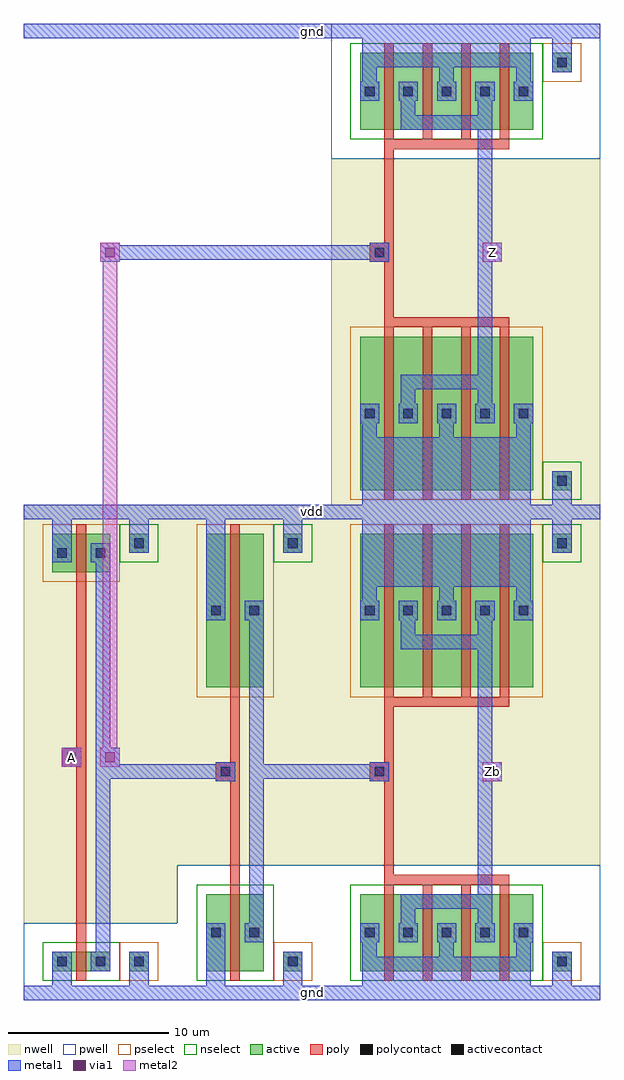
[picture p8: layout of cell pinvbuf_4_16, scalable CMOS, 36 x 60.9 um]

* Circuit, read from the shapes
.subckt pinvbuf_4_16 A Z Zb gnd vdd
M1 pinv_4_1/A A gnd gnd nfet w=1.2u l=0.6u
M2 pinv_5_2/A pinv_4_1/A gnd gnd nfet w=4.8u l=0.6u
M3 Zb pinv_5_2/A gnd gnd nfet w=4.8u l=0.6u m=4
M4 Z pinv_4_1/A gnd gnd nfet w=4.8u l=0.6u m=4
M5 pinv_4_1/A A vdd vdd pfet w=2.4u l=0.6u
M6 pinv_5_2/A pinv_4_1/A vdd vdd pfet w=9.6u l=0.6u
M7 Zb pinv_5_2/A vdd vdd pfet w=9.6u l=0.6u m=4
M8 Z pinv_4_1/A vdd vdd pfet w=9.6u l=0.6u m=4
.ends

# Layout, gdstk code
from math import pi, radians
import gdstk
lib = gdstk.Library(unit=1e-6, precision=1e-09)
def R(c, l, rs):  # rectangles x0, y0, x1, y1
    for r in rs: c.add(gdstk.rectangle(r[:2], r[2:], *l))
def A(c, l, x, y, w, h, nx, ny, dx, dy):  # array of equal rectangles
    R(c, l, [(x+i*dx, y+j*dy, x+i*dx+w, y+j*dy+h) for i in range(nx) for j in range(ny)])
pwell = (41, 0)
nwell = (42, 0)
active = (43, 0)
pselect = (44, 0)
nselect = (45, 0)
poly = (46, 0)
polycontact = (47, 0)
activecontact = (48, 0)
metal1 = (49, 0)
via1 = (50, 0)
metal2 = (51, 0)

active_contact_metal1_1x = lib.new_cell('active_contact_metal1_1x1_pn')
R(active_contact_metal1_1x, nwell, [(-1.8,-1.8,3,3)])
R(active_contact_metal1_1x, active, [(0,0,1.2,1.2)])
R(active_contact_metal1_1x, pselect, [(-0.6,-0.6,1.8,1.8)])
R(active_contact_metal1_1x, activecontact, [(0.3,0.3,0.9,0.9)])
R(active_contact_metal1_1x, metal1, [(0,0,1.2,1.2)])

pmos_m1_w2_4_a_p = lib.new_cell('pmos_m1_w2_4_a_p')
R(pmos_m1_w2_4_a_p, nwell, [(-1.8,-1.8,5.4,4.2)])
R(pmos_m1_w2_4_a_p, active, [(0,0,3.6,2.4)])
R(pmos_m1_w2_4_a_p, pselect, [(-0.6,-0.6,4.2,3)])
R(pmos_m1_w2_4_a_p, poly, [(1.5,-0.6,2.1,3), (1.5,-0.6,2.1,3)])
R(pmos_m1_w2_4_a_p, metal1, [(0,0.6,1.2,1.8), (2.4,0.6,3.6,1.8)])
pmos_m1_w2_4_a_p.add(gdstk.Reference(active_contact_metal1_1x, (0,0.6)))
pmos_m1_w2_4_a_p.add(gdstk.Reference(active_contact_metal1_1x, (2.4,0.6)))
pmos_m1_w2_4_a_p.add(gdstk.Label('G', (1.8,1.2), layer=46, texttype=0))
pmos_m1_w2_4_a_p.add(gdstk.Label('S', (0.6,1.2), layer=49, texttype=0))
pmos_m1_w2_4_a_p.add(gdstk.Label('D', (3,1.2), layer=49, texttype=0))

c_active_contact_metal1_1x = lib.new_cell('active_contact_metal1_1x1_np')
R(c_active_contact_metal1_1x, pwell, [(-1.8,-1.8,3,3)])
R(c_active_contact_metal1_1x, active, [(0,0,1.2,1.2)])
R(c_active_contact_metal1_1x, nselect, [(-0.6,-0.6,1.8,1.8)])
R(c_active_contact_metal1_1x, activecontact, [(0.3,0.3,0.9,0.9)])
R(c_active_contact_metal1_1x, metal1, [(0,0,1.2,1.2)])

nmos_m1_w1_2_a_p = lib.new_cell('nmos_m1_w1_2_a_p')
R(nmos_m1_w1_2_a_p, pwell, [(-1.8,-1.8,5.4,3)])
R(nmos_m1_w1_2_a_p, active, [(0,0,3.6,1.2)])
R(nmos_m1_w1_2_a_p, nselect, [(-0.6,-0.6,4.2,1.8)])
R(nmos_m1_w1_2_a_p, poly, [(1.5,-0.6,2.1,1.8), (1.5,-0.6,2.1,1.8)])
R(nmos_m1_w1_2_a_p, metal1, [(0,0,1.2,1.2), (2.4,0,3.6,1.2)])
nmos_m1_w1_2_a_p.add(gdstk.Reference(c_active_contact_metal1_1x, (0,0)))
nmos_m1_w1_2_a_p.add(gdstk.Reference(c_active_contact_metal1_1x, (2.4,0)))
nmos_m1_w1_2_a_p.add(gdstk.Label('G', (1.8,0.6), layer=46, texttype=0))
nmos_m1_w1_2_a_p.add(gdstk.Label('S', (0.6,0.6), layer=49, texttype=0))
nmos_m1_w1_2_a_p.add(gdstk.Label('D', (3,0.6), layer=49, texttype=0))

c_active_contact_metal1_1x_ = lib.new_cell('active_contact_metal1_1x1_nn')
R(c_active_contact_metal1_1x_, nwell, [(-1.8,-1.8,3,3)])
R(c_active_contact_metal1_1x_, active, [(0,0,1.2,1.2)])
R(c_active_contact_metal1_1x_, nselect, [(-0.6,-0.6,1.8,1.8)])
R(c_active_contact_metal1_1x_, activecontact, [(0.3,0.3,0.9,0.9)])
R(c_active_contact_metal1_1x_, metal1, [(0,0,1.2,1.2)])

c_active_contact_metal1_1x__ = lib.new_cell('active_contact_metal1_1x1_pp')
R(c_active_contact_metal1_1x__, pwell, [(-1.8,-1.8,3,3)])
R(c_active_contact_metal1_1x__, active, [(0,0,1.2,1.2)])
R(c_active_contact_metal1_1x__, pselect, [(-0.6,-0.6,1.8,1.8)])
R(c_active_contact_metal1_1x__, activecontact, [(0.3,0.3,0.9,0.9)])
R(c_active_contact_metal1_1x__, metal1, [(0,0,1.2,1.2)])

poly_contact_metal1_1x1 = lib.new_cell('poly_contact_metal1_1x1')
R(poly_contact_metal1_1x1, poly, [(0,0,1.2,1.2)])
R(poly_contact_metal1_1x1, polycontact, [(0.3,0.3,0.9,0.9)])
R(poly_contact_metal1_1x1, metal1, [(0,0,1.2,1.2)])

pinv_3 = lib.new_cell('pinv_3')
R(pinv_3, pwell, [(0,-0.45,9.6,4.35)])
R(pinv_3, nwell, [(0,4.35,9.6,30.45)])
R(pinv_3, poly, [(3.3,0.75,3.9,25.65), (3,14.1,3.3,15.3)])
R(pinv_3, metal1, [(0,-0.45,9.6,0.45), (1.8,-0.45,3,1.35), (6.6,0,7.8,1.95), (4.5,1.35,5.4,26.85), (2.4,14.1,3.6,15.3), (4.95,14.25,5.85,15.15), (1.8,26.85,3,30.45), (6.6,28.05,7.8,30), (0,29.55,9.6,30.45)])
pinv_3.add(gdstk.Reference(pmos_m1_w2_4_a_p, (1.8,26.25)))
pinv_3.add(gdstk.Reference(nmos_m1_w1_2_a_p, (1.8,1.35)))
pinv_3.add(gdstk.Reference(c_active_contact_metal1_1x_, (6.6,27.45)))
pinv_3.add(gdstk.Reference(c_active_contact_metal1_1x__, (6.6,1.35)))
pinv_3.add(gdstk.Reference(poly_contact_metal1_1x1, (2.4,14.1)))
pinv_3.add(gdstk.Label('gnd', (4.8,0), layer=49, texttype=0))
pinv_3.add(gdstk.Label('vdd', (4.8,30), layer=49, texttype=0))
pinv_3.add(gdstk.Label('A', (3,14.7), layer=49, texttype=0))
pinv_3.add(gdstk.Label('Z', (5.4,14.7), layer=49, texttype=0))

pmos_m1_w9_6_a_p = lib.new_cell('pmos_m1_w9_6_a_p')
R(pmos_m1_w9_6_a_p, nwell, [(-1.8,-1.8,5.4,11.4)])
R(pmos_m1_w9_6_a_p, active, [(0,0,3.6,9.6)])
R(pmos_m1_w9_6_a_p, pselect, [(-0.6,-0.6,4.2,10.2)])
R(pmos_m1_w9_6_a_p, poly, [(1.5,-0.6,2.1,10.2), (1.5,-0.6,2.1,10.2)])
R(pmos_m1_w9_6_a_p, metal1, [(0,4.2,1.2,5.4), (2.4,4.2,3.6,5.4)])
pmos_m1_w9_6_a_p.add(gdstk.Reference(active_contact_metal1_1x, (0,4.2)))
pmos_m1_w9_6_a_p.add(gdstk.Reference(active_contact_metal1_1x, (2.4,4.2)))
pmos_m1_w9_6_a_p.add(gdstk.Label('G', (1.8,4.8), layer=46, texttype=0))
pmos_m1_w9_6_a_p.add(gdstk.Label('S', (0.6,4.8), layer=49, texttype=0))
pmos_m1_w9_6_a_p.add(gdstk.Label('D', (3,4.8), layer=49, texttype=0))

nmos_m1_w4_8_a_p = lib.new_cell('nmos_m1_w4_8_a_p')
R(nmos_m1_w4_8_a_p, pwell, [(-1.8,-1.8,5.4,6.6)])
R(nmos_m1_w4_8_a_p, active, [(0,0,3.6,4.8)])
R(nmos_m1_w4_8_a_p, nselect, [(-0.6,-0.6,4.2,5.4)])
R(nmos_m1_w4_8_a_p, poly, [(1.5,-0.6,2.1,5.4), (1.5,-0.6,2.1,5.4)])
R(nmos_m1_w4_8_a_p, metal1, [(0,1.8,1.2,3), (2.4,1.8,3.6,3)])
nmos_m1_w4_8_a_p.add(gdstk.Reference(c_active_contact_metal1_1x, (0,1.8)))
nmos_m1_w4_8_a_p.add(gdstk.Reference(c_active_contact_metal1_1x, (2.4,1.8)))
nmos_m1_w4_8_a_p.add(gdstk.Label('G', (1.8,2.4), layer=46, texttype=0))
nmos_m1_w4_8_a_p.add(gdstk.Label('S', (0.6,2.4), layer=49, texttype=0))
nmos_m1_w4_8_a_p.add(gdstk.Label('D', (3,2.4), layer=49, texttype=0))

pinv_4 = lib.new_cell('pinv_4')
R(pinv_4, pwell, [(0,-0.45,9.6,7.95)])
R(pinv_4, nwell, [(0,7.95,9.6,30.45)])
R(pinv_4, poly, [(3.3,0.75,3.9,18.45), (3,13.2,3.3,14.4)])
R(pinv_4, metal1, [(0,-0.45,9.6,0.45), (1.8,-0.45,3,3.15), (6.6,0,7.8,1.95), (4.5,3.15,5.4,23.25), (2.4,13.2,3.6,14.4), (4.95,13.35,5.85,14.25), (1.8,23.25,3,30.45), (6.6,28.05,7.8,30), (0,29.55,9.6,30.45)])
pinv_4.add(gdstk.Reference(pmos_m1_w9_6_a_p, (1.8,19.05)))
pinv_4.add(gdstk.Reference(nmos_m1_w4_8_a_p, (1.8,1.35)))
pinv_4.add(gdstk.Reference(c_active_contact_metal1_1x_, (6.6,27.45)))
pinv_4.add(gdstk.Reference(c_active_contact_metal1_1x__, (6.6,1.35)))
pinv_4.add(gdstk.Reference(poly_contact_metal1_1x1, (2.4,13.2)))
pinv_4.add(gdstk.Label('gnd', (4.8,0), layer=49, texttype=0))
pinv_4.add(gdstk.Label('vdd', (4.8,30), layer=49, texttype=0))
pinv_4.add(gdstk.Label('A', (3,13.8), layer=49, texttype=0))
pinv_4.add(gdstk.Label('Z', (5.4,13.8), layer=49, texttype=0))

pmos_m4_w9_6_a_p = lib.new_cell('pmos_m4_w9_6_a_p')
R(pmos_m4_w9_6_a_p, nwell, [(-1.8,-1.8,12.6,11.4)])
R(pmos_m4_w9_6_a_p, active, [(0,0,10.8,9.6)])
R(pmos_m4_w9_6_a_p, pselect, [(-0.6,-0.6,11.4,10.2)])
A(pmos_m4_w9_6_a_p, poly, 1.5, -0.6, 0.6, 10.8, 4, 1, 2.4, 0)
R(pmos_m4_w9_6_a_p, poly, [(1.5,-1.2,9.3,-0.6)])
A(pmos_m4_w9_6_a_p, metal1, 0.15, 4.8, 0.9, 1.95, 3, 1, 4.8, 0)
R(pmos_m4_w9_6_a_p, metal1, [(2.55,2.4,8.25,3.3), (2.55,2.85,3.45,4.8), (7.35,2.85,8.25,4.8), (0.15,6.3,10.65,7.2)])
pmos_m4_w9_6_a_p.add(gdstk.Reference(active_contact_metal1_1x, (0,4.2)))
pmos_m4_w9_6_a_p.add(gdstk.Reference(active_contact_metal1_1x, (4.8,4.2)))
pmos_m4_w9_6_a_p.add(gdstk.Reference(active_contact_metal1_1x, (9.6,4.2)))
pmos_m4_w9_6_a_p.add(gdstk.Reference(active_contact_metal1_1x, (2.4,4.2)))
pmos_m4_w9_6_a_p.add(gdstk.Reference(active_contact_metal1_1x, (7.2,4.2)))
pmos_m4_w9_6_a_p.add(gdstk.Label('G', (5.4,-0.9), layer=46, texttype=0))
pmos_m4_w9_6_a_p.add(gdstk.Label('S', (5.4,6.75), layer=49, texttype=0))
pmos_m4_w9_6_a_p.add(gdstk.Label('D', (5.4,2.85), layer=49, texttype=0))

nmos_m4_w4_8_a_p = lib.new_cell('nmos_m4_w4_8_a_p')
R(nmos_m4_w4_8_a_p, pwell, [(-1.8,-1.8,12.6,6.6)])
R(nmos_m4_w4_8_a_p, active, [(0,0,10.8,4.8)])
R(nmos_m4_w4_8_a_p, nselect, [(-0.6,-0.6,11.4,5.4)])
A(nmos_m4_w4_8_a_p, poly, 1.5, -0.6, 0.6, 6, 4, 1, 2.4, 0)
R(nmos_m4_w4_8_a_p, poly, [(1.5,5.4,9.3,6)])
A(nmos_m4_w4_8_a_p, metal1, 0.15, 0.45, 0.9, 1.95, 3, 1, 4.8, 0)
R(nmos_m4_w4_8_a_p, metal1, [(0.15,0,10.65,0.9), (2.55,2.4,3.45,4.35), (7.35,2.4,8.25,4.35), (2.55,3.9,8.25,4.8)])
nmos_m4_w4_8_a_p.add(gdstk.Reference(c_active_contact_metal1_1x, (0,1.8)))
nmos_m4_w4_8_a_p.add(gdstk.Reference(c_active_contact_metal1_1x, (4.8,1.8)))
nmos_m4_w4_8_a_p.add(gdstk.Reference(c_active_contact_metal1_1x, (9.6,1.8)))
nmos_m4_w4_8_a_p.add(gdstk.Reference(c_active_contact_metal1_1x, (2.4,1.8)))
nmos_m4_w4_8_a_p.add(gdstk.Reference(c_active_contact_metal1_1x, (7.2,1.8)))
nmos_m4_w4_8_a_p.add(gdstk.Label('G', (5.4,5.7), layer=46, texttype=0))
nmos_m4_w4_8_a_p.add(gdstk.Label('S', (5.4,0.45), layer=49, texttype=0))
nmos_m4_w4_8_a_p.add(gdstk.Label('D', (5.4,4.35), layer=49, texttype=0))

pinv_5 = lib.new_cell('pinv_5')
R(pinv_5, pwell, [(0,-0.45,16.8,7.95)])
R(pinv_5, nwell, [(0,7.95,16.8,30.45)])
R(pinv_5, poly, [(3.3,6.75,3.9,17.85), (3,13.2,3.3,14.4)])
R(pinv_5, metal1, [(0,-0.45,16.8,0.45), (1.95,-0.45,12.45,1.35), (13.8,0,15,1.95), (9.15,5.25,10.05,21.45), (2.4,13.2,3.6,14.4), (9.6,13.35,10.5,14.25), (1.95,25.35,12.45,30.45), (13.8,28.05,15,30), (0,29.55,16.8,30.45)])
pinv_5.add(gdstk.Reference(pmos_m4_w9_6_a_p, (1.8,19.05)))
pinv_5.add(gdstk.Reference(nmos_m4_w4_8_a_p, (1.8,1.35)))
pinv_5.add(gdstk.Reference(c_active_contact_metal1_1x_, (13.8,27.45)))
pinv_5.add(gdstk.Reference(c_active_contact_metal1_1x__, (13.8,1.35)))
pinv_5.add(gdstk.Reference(poly_contact_metal1_1x1, (2.4,13.2)))
pinv_5.add(gdstk.Label('gnd', (8.4,0), layer=49, texttype=0))
pinv_5.add(gdstk.Label('vdd', (8.4,30), layer=49, texttype=0))
pinv_5.add(gdstk.Label('A', (3,13.8), layer=49, texttype=0))
pinv_5.add(gdstk.Label('Z', (10.05,13.8), layer=49, texttype=0))

metal1_via1_metal2_1x1 = lib.new_cell('metal1_via1_metal2_1x1')
R(metal1_via1_metal2_1x1, metal1, [(0,0,1.2,1.2)])
R(metal1_via1_metal2_1x1, via1, [(0.3,0.3,0.9,0.9)])
R(metal1_via1_metal2_1x1, metal2, [(0,0,1.2,1.2)])

pinvbuf_4_16 = lib.new_cell('pinvbuf_4_16')
A(pinvbuf_4_16, metal1, 0, -0.45, 36, 0.9, 1, 3, 0, 30)
R(pinvbuf_4_16, metal1, [(4.95,13.35,5.85,14.25), (5.4,13.35,12.6,14.25), (15,13.35,22.2,14.25), (4.95,13.8,5.85,14.7), (5.4,45.75,22.2,46.65)])
R(pinvbuf_4_16, metal2, [(28.8,13.35,29.7,14.25), (2.55,14.25,3.45,15.15), (4.95,14.7,5.85,46.2), (28.8,45.75,29.7,46.65)])
pinvbuf_4_16.add(gdstk.Reference(pinv_3, (0,0)))
pinvbuf_4_16.add(gdstk.Reference(pinv_4, (9.6,0)))
pinvbuf_4_16.add(gdstk.Reference(pinv_5, (19.2,0)))
pinvbuf_4_16.add(gdstk.Reference(pinv_5, (19.2,60), x_reflection=True))
pinvbuf_4_16.add(gdstk.Reference(metal1_via1_metal2_1x1, (6,45.6), rotation=pi/2))
pinvbuf_4_16.add(gdstk.Reference(metal1_via1_metal2_1x1, (4.8,14.1)))
pinvbuf_4_16.add(gdstk.Reference(metal1_via1_metal2_1x1, (28.65,45.6)))
pinvbuf_4_16.add(gdstk.Reference(metal1_via1_metal2_1x1, (28.65,13.2)))
pinvbuf_4_16.add(gdstk.Reference(metal1_via1_metal2_1x1, (2.4,14.1)))
pinvbuf_4_16.add(gdstk.Label('vdd', (18,30), layer=49, texttype=0))
pinvbuf_4_16.add(gdstk.Label('gnd', (18,60), layer=49, texttype=0))
pinvbuf_4_16.add(gdstk.Label('gnd', (18,0), layer=49, texttype=0))
pinvbuf_4_16.add(gdstk.Label('Z', (29.25,46.2), layer=51, texttype=0))
pinvbuf_4_16.add(gdstk.Label('Zb', (29.25,13.8), layer=51, texttype=0))
pinvbuf_4_16.add(gdstk.Label('A', (3,14.7), layer=51, texttype=0))

lib.write_gds('pinvbuf_4_16.gds')
